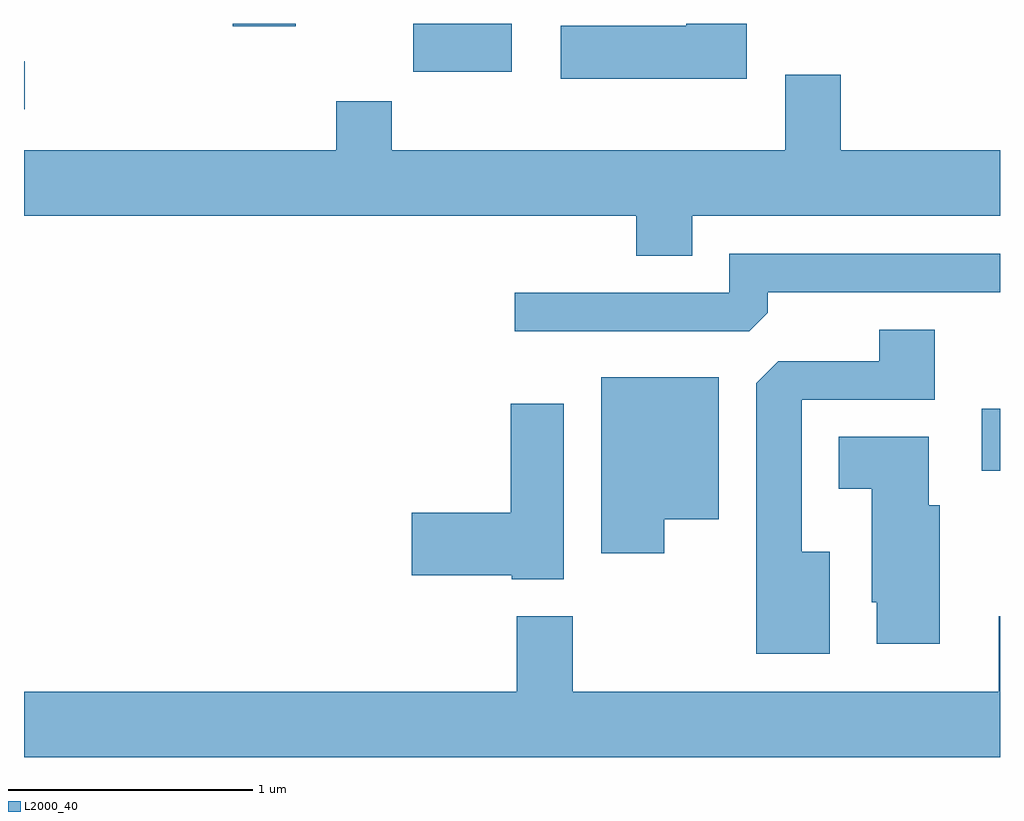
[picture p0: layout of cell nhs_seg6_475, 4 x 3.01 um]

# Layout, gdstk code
import gdstk
lib = gdstk.Library(unit=1e-6, precision=1e-09)
def R(c, l, rs):  # rectangles x0, y0, x1, y1
    for r in rs: c.add(gdstk.rectangle(r[:2], r[2:], *l))
def P(c, l, *ps):  # polygons
    for p in ps: c.add(gdstk.Polygon(p, *l))
L2000_40 = (2000, 40)

nhs_seg6_475 = lib.new_cell('nhs_seg6_475')
R(nhs_seg6_475, L2000_40, [(203.536,1542.331,203.611,1542.584), (199.611,1543.811,199.614,1544.009), (201.206,1543.966,201.609,1544.162), (200.466,1544.151,200.724,1544.162)])
P(nhs_seg6_475, L2000_40, [(202.574,1544.162),(202.326,1544.162),(202.326,1544.154),(201.811,1544.154),(201.811,1543.936),(202.574,1543.936)],
  [(202.349,1543.376),(203.611,1543.376),(203.611,1543.644),(202.959,1543.644),(202.959,1543.954),(202.731,1543.954),(202.731,1543.644),(201.119,1543.644),(201.119,1543.844),(200.891,1543.844),(200.891,1543.644),(199.611,1543.644),(199.611,1543.376),(202.121,1543.376),(202.121,1543.211),(202.349,1543.211)],
  [(202.659,1542.977),(202.659,1543.061),(203.611,1543.061),(203.611,1543.219),(202.501,1543.219),(202.501,1543.059),(201.623,1543.059),(201.623,1542.901),(202.584,1542.901)],
  [(202.914,1541.999),(202.799,1541.999),(202.799,1542.621),(203.344,1542.621),(203.344,1542.909),(203.116,1542.909),(203.116,1542.779),(202.702,1542.779),(202.611,1542.689),(202.611,1541.581),(202.914,1541.581)],
  [(202.234,1542.131),(202.459,1542.131),(202.459,1542.714),(201.976,1542.714),(201.976,1541.991),(202.234,1541.991)],
  [(201.824,1542.604),(201.606,1542.604),(201.606,1542.159),(201.201,1542.159),(201.201,1541.901),(201.61,1541.901),(201.61,1541.886),(201.824,1541.886)],
  [(203.364,1542.189),(203.319,1542.189),(203.319,1542.469),(202.951,1542.469),(202.951,1542.256),(203.086,1542.256),(203.086,1541.791),(203.106,1541.791),(203.106,1541.621),(203.364,1541.621)],
  [(203.611,1541.734),(203.606,1541.734),(203.606,1541.424),(201.859,1541.424),(201.859,1541.734),(201.631,1541.734),(201.631,1541.424),(199.611,1541.424),(199.611,1541.156),(203.611,1541.156)])

lib.write_gds('nhs_seg6_475.gds')
